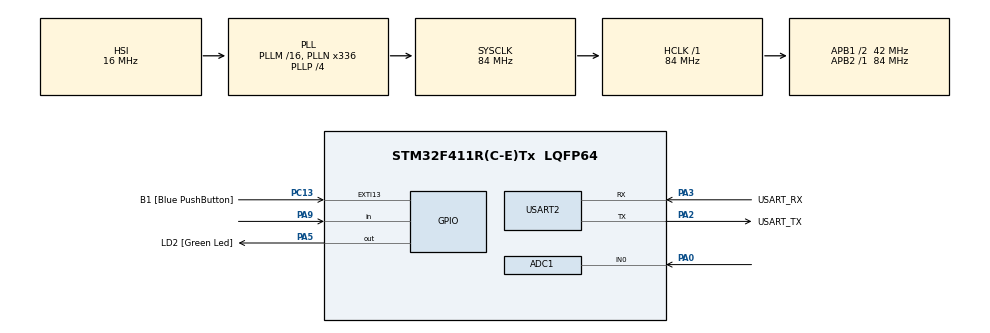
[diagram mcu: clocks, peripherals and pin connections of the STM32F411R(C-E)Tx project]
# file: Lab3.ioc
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ADC1.Channel-0\#ChannelRegularConversion=ADC_CHANNEL_0
ADC1.NbrOfConversionFlag=1
ADC1.Rank-0\#ChannelRegularConversion=1
ADC1.SamplingTime-0\#ChannelRegularConversion=ADC_SAMPLETIME_3CYCLES
ADC1.master=1
Mcu.Family=STM32F4
Mcu.Name=STM32F411R(C-E)Tx
Mcu.Package=LQFP64
NVIC.PriorityGroup=NVIC_PRIORITYGROUP_0
PA0-WKUP.Signal=ADCx_IN0
PA13.GPIO_Label=TMS
PA13.Mode=Serial_Wire
PA13.Signal=SYS_JTMS-SWDIO
PA14.GPIO_Label=TCK
PA14.Mode=Serial_Wire
PA14.Signal=SYS_JTCK-SWCLK
PA2.GPIO_Label=USART_TX
PA2.Mode=Asynchronous
PA2.Signal=USART2_TX
PA3.GPIO_Label=USART_RX
PA3.Mode=Asynchronous
PA3.Signal=USART2_RX
PA5.GPIO_Label=LD2 [Green Led]
PA5.Signal=GPIO_Output
PA9.Signal=GPIO_Input
PB3.GPIO_Label=SWO
PB3.Signal=SYS_JTDO-SWO
PC13-ANTI_TAMP.GPIO_Label=B1 [Blue PushButton]
PC13-ANTI_TAMP.GPIO_ModeDefaultEXTI=GPIO_MODE_IT_FALLING
PC13-ANTI_TAMP.Signal=GPXTI13
PC14-OSC32_IN.Mode=LSE-External-Oscillator
PC14-OSC32_IN.Signal=RCC_OSC32_IN
PC15-OSC32_OUT.Mode=LSE-External-Oscillator
PC15-OSC32_OUT.Signal=RCC_OSC32_OUT
PH0\ -\ OSC_IN.Mode=HSE-External-Clock-Source
PH0\ -\ OSC_IN.Signal=RCC_OSC_IN
PH1\ -\ OSC_OUT.Mode=HSE-External-Clock-Source
PH1\ -\ OSC_OUT.Signal=RCC_OSC_OUT
ProjectManager.HeapSize=0x200
ProjectManager.StackSize=0x400
ProjectManager.TargetToolchain=STM32CubeIDE
RCC.48MHZClocksFreq_Value=84000000
RCC.AHBFreq_Value=84000000
RCC.APB1CLKDivider=RCC_HCLK_DIV2
RCC.APB1Freq_Value=42000000
RCC.APB1TimFreq_Value=84000000
RCC.APB2Freq_Value=84000000
RCC.APB2TimFreq_Value=84000000
RCC.CortexFreq_Value=84000000
RCC.FLatency-AdvancedSettings=FLASH_LATENCY_2
RCC.HCLKFreq_Value=84000000
RCC.HSE_VALUE=8000000
RCC.HSI_VALUE=16000000
RCC.PLLN=336
RCC.PLLP=RCC_PLLP_DIV4
RCC.SYSCLKFreq_VALUE=84000000
RCC.SYSCLKSource=RCC_SYSCLKSOURCE_PLLCLK
RCC.VCOOutputFreq_Value=336000000
SH.ADCx_IN0.0=ADC1_IN0,IN0
USART2.VirtualMode=VM_ASYNC
VP_ADC1_TempSens_Input.Mode=IN-TempSens
board=NUCLEO-F411RE

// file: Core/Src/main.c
/* USER CODE BEGIN Header */
/**
  ******************************************************************************
  * @file           : main.c
  * @brief          : Main program body
  ******************************************************************************
  * @attention
  *
  * <h2><center>&copy; Copyright (c) 2021 STMicroelectronics.
  * All rights reserved.</center></h2>
  *
  * This software component is licensed by ST under BSD 3-Clause license,
  * the "License"; You may not use this file except in compliance with the
  * License. You may obtain a copy of the License at:
  *                        opensource.org/licenses/BSD-3-Clause
  *
  ******************************************************************************
  */
/* USER CODE END Header */
#include "main.h"

ADC_HandleTypeDef hadc1;

UART_HandleTypeDef huart2;

/* USER CODE BEGIN PV */
typedef struct
{
	ADC_ChannelConfTypeDef Config;
	uint32_t Data;
} ADCStructure;

ADCStructure ADCChannel[2]={0}; //ถ้าไม่ใส่ 0 จะ random ค่ามาให้
uint8_t ADCMode = 0;

float V_ref = 3.3; //define save memory
float resolution = 4096.0;
float ADCOutputConverted = 0;

float V_25 = 0.76;
float Avg_Slope = 0.0025;
/* USER CODE END PV */

void SystemClock_Config(void);
static void MX_GPIO_Init(void);
static void MX_USART2_UART_Init(void);
static void MX_ADC1_Init(void);
/* USER CODE BEGIN PFP */
void ADCPollingMethodInit(); //init config of 2 ADC
void ADCPollingMethodUpdate(); //read ADC from 2 source (PA0, Temp)
/* USER CODE END PFP */

int main(void)
{

  /* MCU Configuration--------------------------------------------------------*/

  /* Reset of all peripherals, Initializes the Flash interface and the Systick. */
  HAL_Init();

  /* Configure the system clock */
  SystemClock_Config();

  /* Initialize all configured peripherals */
  MX_GPIO_Init();
  MX_USART2_UART_Init();
  MX_ADC1_Init();
  /* USER CODE BEGIN 2 */
  ADCPollingMethodInit(); //initial ADC

  GPIO_PinState SwitchState1[2] = {0}; //now,last for sw1
  uint32_t ButtonTimeStamp = 0; //count time for button delay

  /* USER CODE END 2 */

  /* Infinite loop */
  while (1)
  {

    /* USER CODE BEGIN 3 */
	  //read analog
	  ADCPollingMethodUpdate();
	  if(HAL_GetTick()-ButtonTimeStamp>=100)//ms
	  {
		  ButtonTimeStamp = HAL_GetTick(); //save time present for button delay
		  //switch press is low
		  SwitchState1[0]= HAL_GPIO_ReadPin(GPIOA, GPIO_PIN_9); //save present state for sw1
		  if(SwitchState1[1]==GPIO_PIN_SET
				  && SwitchState1[0]==GPIO_PIN_RESET) //if press button (s1)
		  {
			  //change ADC Mode
			  if (ADCMode == 0) //mode 0
		  	  {
				  ADCMode = 1; //change to mode 1
		  	  }
			  else
			  {
				  ADCMode = 0; //change to mode 0
			  }
		  }
		  SwitchState1[1]=SwitchState1[0]; //save state
		  if (ADCMode == 0)
		  {
			  //mV
			  ADCOutputConverted = (ADCChannel[0].Data)*(1000.0)*(V_ref)/(resolution);
		  }
		  else if (ADCMode == 1)
		  {
			  //temperature
			  ADCOutputConverted = (((ADCChannel[1].Data*V_ref/resolution)-V_25)/Avg_Slope) + 25.0;
		  }

	  }

  }
  /* USER CODE END 3 */
}

void SystemClock_Config(void)
{
  RCC_OscInitTypeDef RCC_OscInitStruct = {0};
  RCC_ClkInitTypeDef RCC_ClkInitStruct = {0};

  /** Configure the main internal regulator output voltage
  */
  __HAL_RCC_PWR_CLK_ENABLE();
  __HAL_PWR_VOLTAGESCALING_CONFIG(PWR_REGULATOR_VOLTAGE_SCALE1);
  /** Initializes the RCC Oscillators according to the specified parameters
  * in the RCC_OscInitTypeDef structure.
  */
  RCC_OscInitStruct.OscillatorType = RCC_OSCILLATORTYPE_HSI;
  RCC_OscInitStruct.HSIState = RCC_HSI_ON;
  RCC_OscInitStruct.HSICalibrationValue = RCC_HSICALIBRATION_DEFAULT;
  RCC_OscInitStruct.PLL.PLLState = RCC_PLL_ON;
  RCC_OscInitStruct.PLL.PLLSource = RCC_PLLSOURCE_HSI;
  RCC_OscInitStruct.PLL.PLLM = 16;
  RCC_OscInitStruct.PLL.PLLN = 336;
  RCC_OscInitStruct.PLL.PLLP = RCC_PLLP_DIV4;
  RCC_OscInitStruct.PLL.PLLQ = 4;
  if (HAL_RCC_OscConfig(&RCC_OscInitStruct) != HAL_OK)
  {
    Error_Handler();
  }
  /** Initializes the CPU, AHB and APB buses clocks
  */
  RCC_ClkInitStruct.ClockType = RCC_CLOCKTYPE_HCLK|RCC_CLOCKTYPE_SYSCLK
                              |RCC_CLOCKTYPE_PCLK1|RCC_CLOCKTYPE_PCLK2;
  RCC_ClkInitStruct.SYSCLKSource = RCC_SYSCLKSOURCE_PLLCLK;
  RCC_ClkInitStruct.AHBCLKDivider = RCC_SYSCLK_DIV1;
  RCC_ClkInitStruct.APB1CLKDivider = RCC_HCLK_DIV2;
  RCC_ClkInitStruct.APB2CLKDivider = RCC_HCLK_DIV1;

  if (HAL_RCC_ClockConfig(&RCC_ClkInitStruct, FLASH_LATENCY_2) != HAL_OK)
  {
    Error_Handler();
  }
}

static void MX_ADC1_Init(void)
{

  ADC_ChannelConfTypeDef sConfig = {0};

  /** Configure the global features of the ADC (Clock, Resolution, Data Alignment and number of conversion)
  */
  hadc1.Instance = ADC1;
  hadc1.Init.ClockPrescaler = ADC_CLOCK_SYNC_PCLK_DIV4;
  hadc1.Init.Resolution = ADC_RESOLUTION_12B;
  hadc1.Init.ScanConvMode = DISABLE;
  hadc1.Init.ContinuousConvMode = DISABLE;
  hadc1.Init.DiscontinuousConvMode = DISABLE;
  hadc1.Init.ExternalTrigConvEdge = ADC_EXTERNALTRIGCONVEDGE_NONE;
  hadc1.Init.ExternalTrigConv = ADC_SOFTWARE_START;
  hadc1.Init.DataAlign = ADC_DATAALIGN_RIGHT;
  hadc1.Init.NbrOfConversion = 1;
  hadc1.Init.DMAContinuousRequests = DISABLE;
  hadc1.Init.EOCSelection = ADC_EOC_SINGLE_CONV;
  if (HAL_ADC_Init(&hadc1) != HAL_OK)
  {
    Error_Handler();
  }
  /** Configure for the selected ADC regular channel its corresponding rank in the sequencer and its sample time.
  */
  sConfig.Channel = ADC_CHANNEL_0;
  sConfig.Rank = 1;
  sConfig.SamplingTime = ADC_SAMPLETIME_3CYCLES;
  if (HAL_ADC_ConfigChannel(&hadc1, &sConfig) != HAL_OK)
  {
    Error_Handler();
  }

}

static void MX_USART2_UART_Init(void)
{

  huart2.Instance = USART2;
  huart2.Init.BaudRate = 115200;
  huart2.Init.WordLength = UART_WORDLENGTH_8B;
  huart2.Init.StopBits = UART_STOPBITS_1;
  huart2.Init.Parity = UART_PARITY_NONE;
  huart2.Init.Mode = UART_MODE_TX_RX;
  huart2.Init.HwFlowCtl = UART_HWCONTROL_NONE;
  huart2.Init.OverSampling = UART_OVERSAMPLING_16;
  if (HAL_UART_Init(&huart2) != HAL_OK)
  {
    Error_Handler();
  }

}

static void MX_GPIO_Init(void)
{
  GPIO_InitTypeDef GPIO_InitStruct = {0};

  /* GPIO Ports Clock Enable */
  __HAL_RCC_GPIOC_CLK_ENABLE();
  __HAL_RCC_GPIOH_CLK_ENABLE();
  __HAL_RCC_GPIOA_CLK_ENABLE();
  __HAL_RCC_GPIOB_CLK_ENABLE();

  /*Configure GPIO pin Output Level */
  HAL_GPIO_WritePin(LD2_GPIO_Port, LD2_Pin, GPIO_PIN_RESET);

  /*Configure GPIO pin : B1_Pin */
  GPIO_InitStruct.Pin = B1_Pin;
  GPIO_InitStruct.Mode = GPIO_MODE_IT_FALLING;
  GPIO_InitStruct.Pull = GPIO_NOPULL;
  HAL_GPIO_Init(B1_GPIO_Port, &GPIO_InitStruct);

  /*Configure GPIO pin : LD2_Pin */
  GPIO_InitStruct.Pin = LD2_Pin;
  GPIO_InitStruct.Mode = GPIO_MODE_OUTPUT_PP;
  GPIO_InitStruct.Pull = GPIO_NOPULL;
  GPIO_InitStruct.Speed = GPIO_SPEED_FREQ_LOW;
  HAL_GPIO_Init(LD2_GPIO_Port, &GPIO_InitStruct);

  /*Configure GPIO pin : PA9 */
  GPIO_InitStruct.Pin = GPIO_PIN_9;
  GPIO_InitStruct.Mode = GPIO_MODE_INPUT;
  GPIO_InitStruct.Pull = GPIO_NOPULL;
  HAL_GPIO_Init(GPIOA, &GPIO_InitStruct);

}

/* USER CODE BEGIN 4 */
//ADC_ChannelConfTypeDef sConfig[2];
//uint32_t Data[2];
void ADCPollingMethodInit() //setting 1 time
{
	//PA0
	ADCChannel[0].Config.Channel = ADC_CHANNEL_0;
	ADCChannel[0].Config.Rank = 1;
	ADCChannel[0].Config.SamplingTime = ADC_SAMPLETIME_3CYCLES; //decrease noise

	//Temp
	ADCChannel[1].Config.Channel = ADC_CHANNEL_TEMPSENSOR;
	ADCChannel[1].Config.Rank = 1;
	ADCChannel[1].Config.SamplingTime = ADC_SAMPLETIME_3CYCLES;

}

void ADCPollingMethodUpdate()
{
	for (int i=0; i<2; i++)
	{
		//sConfig->Channel=ADC_CHANNEL_0;
		//select channel
		HAL_ADC_ConfigChannel(&hadc1, &ADCChannel[i].Config);

		//ADC Sampling , Convert
		HAL_ADC_Start(&hadc1);

		//wait ADC polling method
		if (HAL_ADC_PollForConversion(&hadc1, 10)== HAL_OK) //10ms //check if it complete not timeout
		{
			//get value
			ADCChannel[i].Data = HAL_ADC_GetValue(&hadc1);
		}

		//stop
		HAL_ADC_Stop(&hadc1);
	}
}
/* USER CODE END 4 */

void Error_Handler(void)
{
  __disable_irq();
  while (1)
  {
  }
}

/************************ (C) COPYRIGHT STMicroelectronics *****END OF FILE****/
